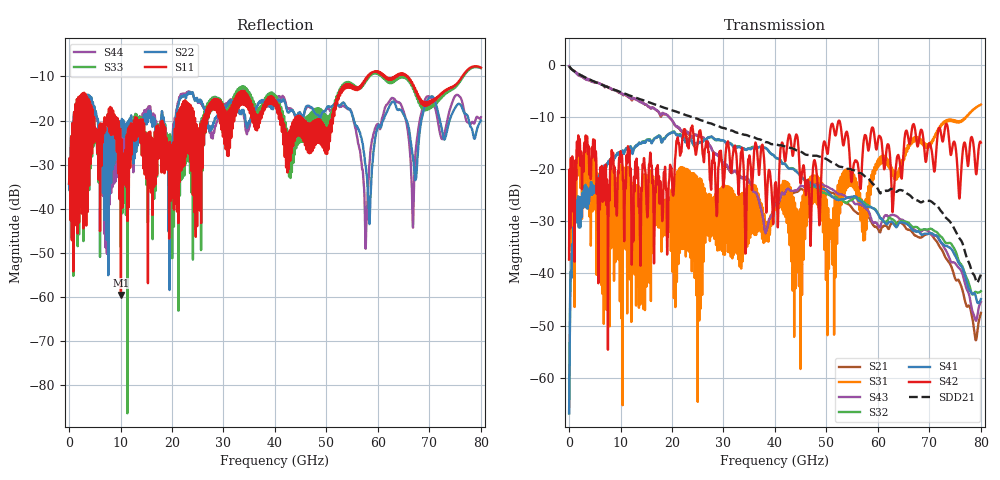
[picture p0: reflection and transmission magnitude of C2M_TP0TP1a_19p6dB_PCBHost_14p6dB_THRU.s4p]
!! Reference: shanbhag_3dj_03_2305.pdf
!! CHANNEL DESCRIPTION: TP0_TP1a C2M Channel, PCB Host
!! MODEL DESCRIPTION: s4p, THRU
!! CONNECTOR DESCRIPTION: OSFP 200G SMT
!! MODEL STATUS: Developmental
!! PORT DEFINITIONS:
!! Port  1  ----->  Side A  Side B  <-----  Port  2
!! Port  3  ----->  Side A  Side B  <-----  Port  4
# HZ S MA R 50.000000
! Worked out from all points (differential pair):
!   8000 points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, 10 MHz to 80 GHz, reference 50 ohm
!   strongest paths, dB at 10 MHz, 20.01 GHz, 40.01 GHz, 60.01 GHz, 80 GHz:
!     S42: -37.3, -22.6, -22.8, -14.4, -14.9
!     S41: -66.9, -12.9, -17.6, -28.6, -44.9
!     S32: -66.9, -12.9, -17.6, -28.4, -43.4
!     S43: -0.2, -10.6, -26.7, -30.7, -45.5
!     S31: -37.3, -27.6, -27.2, -19.6, -7.6
!     S21: -0.2, -10.6, -26.4, -31.4, -47.6
!   taken as a pair (ports 3,1 in; 4,2 out), SDD21 dB: -0.2, -8.6, -15.2, -23.8, -40.2
!   lowest |S11| = -59.5 dB at 10.07 GHz (marker M1), VSWR 1.00, Z = 50 + j0.105 ohm
!   |S11| at or under -10 dB: start of sweep to 58.04 GHz; 61.33 GHz to 63.22 GHz (1.884 GHz wide, 3.02 % of centre); 65.79 GHz to 76.41 GHz (10.63 GHz wide, 14.9 % of centre) (the widest 3 of 7)
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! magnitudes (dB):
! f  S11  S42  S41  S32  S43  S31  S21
! 10 MHz  -34.3  -37.3  -66.9  -66.9  -0.2  -37.3  -0.2
! 1.45 GHz  -19.3  -17.3  -26.3  -26.3  -1.5  -19.2  -1.5
! 10.07 GHz  -59.5  -17.2  -16.9  -16.9  -5.3  -21.9  -5.4
! 51.92 GHz  -15.1  -12.9  -25.7  -25.3  -24.4  -24.2  -25.0
! 57.71 GHz  -10.7  -13.7  -27.2  -26.7  -27.6  -30.2  -28.9
! 62.57 GHz  -10.7  -21.6  -30.0  -29.4  -28.7  -20.6  -30.3
! 80 GHz  -8.0  -14.9  -44.9  -43.4  -45.5  -7.6  -47.6
